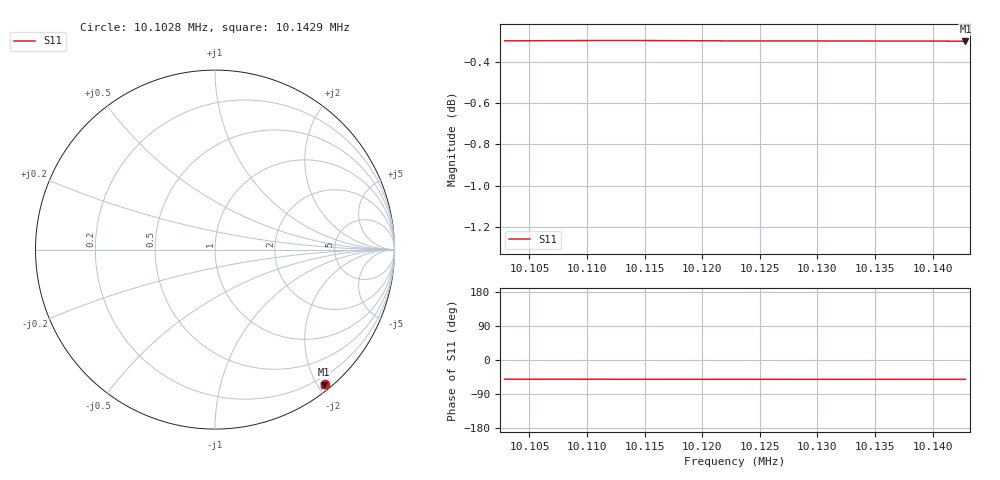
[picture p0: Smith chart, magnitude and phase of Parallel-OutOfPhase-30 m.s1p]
# HZ S RI R 50
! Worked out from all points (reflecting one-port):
!   5 points, 10.1028 MHz to 10.1429 MHz, reference 50 ohm
!   lowest |S11| = -0.3 dB at 10.1429 MHz (marker M1), VSWR 58.33, Z = 4.61 - j105 ohm
!   phase of S11 starts at -51 deg and turns -0 deg over the sweep
1.010284e7  0.6125 -0.7475
1.011284e7  0.6113 -0.7488
1.012285e7  0.6099 -0.7496
1.013285e7  0.6087 -0.7506
1.014286e7  0.6073 -0.7516
